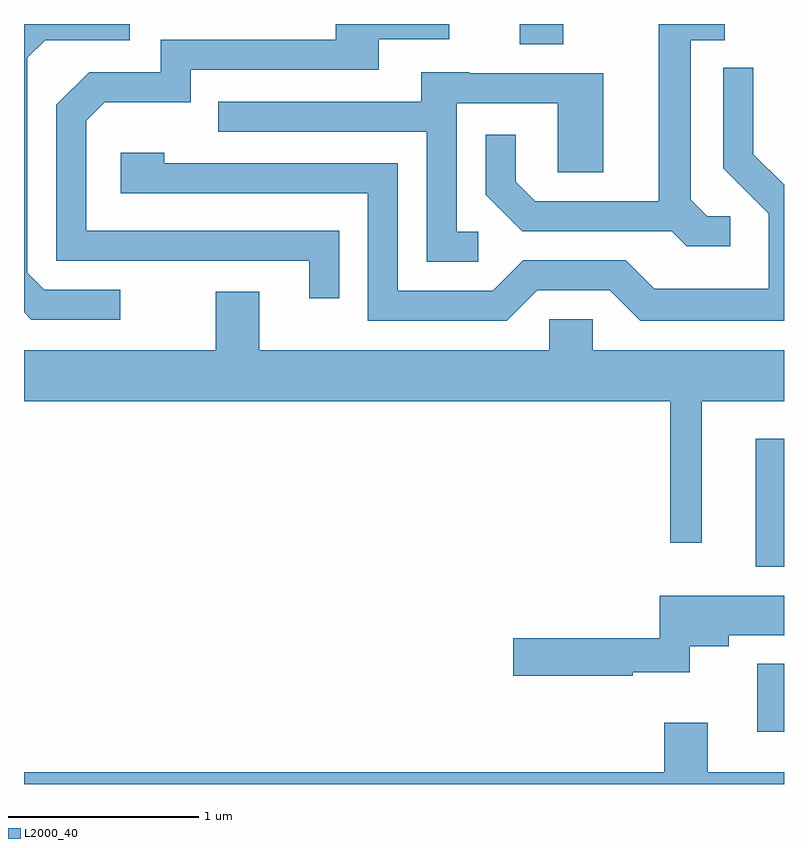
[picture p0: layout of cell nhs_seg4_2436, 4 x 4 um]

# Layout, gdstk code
import gdstk
lib = gdstk.Library(unit=1e-6, precision=1e-09)
def R(c, l, rs):  # rectangles x0, y0, x1, y1
    for r in rs: c.add(gdstk.rectangle(r[:2], r[2:], *l))
def P(c, l, *ps):  # polygons
    for p in ps: c.add(gdstk.Polygon(p, *l))
L2000_40 = (2000, 40)

nhs_seg4_2436 = lib.new_cell('nhs_seg4_2436')
R(nhs_seg4_2436, L2000_40, [(259.471,1366.256,259.611,1366.614), (259.461,1367.126,259.611,1367.799), (258.221,1369.876,258.449,1369.982)])
P(nhs_seg4_2436, L2000_40, [(257.269,1368.894),(255.939,1368.894),(255.939,1369.474),(256.037,1369.571),(256.489,1369.571),(256.489,1369.741),(257.479,1369.741),(257.479,1369.901),(257.848,1369.901),(257.848,1369.982),(257.251,1369.982),(257.251,1369.899),(256.331,1369.899),(256.331,1369.729),(255.954,1369.729),(255.781,1369.557),(255.781,1368.736),(257.111,1368.736),(257.111,1368.538),(257.269,1368.538)],
  [(256.118,1368.584),(255.717,1368.584),(255.629,1368.672),(255.629,1369.804),(255.722,1369.896),(256.168,1369.896),(256.168,1369.982),(255.611,1369.982),(255.611,1368.464),(255.649,1368.426),(256.118,1368.426)],
  [(259.328,1368.969),(259.207,1368.969),(259.119,1369.057),(259.119,1369.896),(259.298,1369.896),(259.298,1369.982),(258.951,1369.982),(258.951,1369.049),(258.302,1369.049),(258.199,1369.152),(258.199,1369.398),(258.041,1369.398),(258.041,1369.084),(258.234,1368.891),(259.019,1368.891),(259.099,1368.811),(259.328,1368.811)],
  [(258.312,1368.581),(258.694,1368.581),(258.854,1368.421),(259.611,1368.421),(259.611,1369.135),(259.449,1369.297),(259.449,1369.753),(259.291,1369.753),(259.291,1369.224),(259.531,1368.984),(259.531,1368.589),(258.927,1368.589),(258.777,1368.739),(258.239,1368.739),(258.079,1368.579),(257.579,1368.579),(257.579,1369.249),(256.349,1369.249),(256.349,1369.304),(256.121,1369.304),(256.121,1369.091),(257.421,1369.091),(257.421,1368.421),(258.152,1368.421)],
  [(258.003,1368.889),(257.889,1368.889),(257.889,1369.566),(258.421,1369.566),(258.421,1369.201),(258.659,1369.201),(258.659,1369.724),(257.955,1369.724),(257.955,1369.729),(257.701,1369.729),(257.701,1369.574),(256.633,1369.574),(256.633,1369.416),(257.731,1369.416),(257.731,1368.731),(258.003,1368.731)],
  [(259.179,1367.996),(259.611,1367.996),(259.611,1368.264),(258.604,1368.264),(258.604,1368.429),(258.376,1368.429),(258.376,1368.264),(256.849,1368.264),(256.849,1368.574),(256.621,1368.574),(256.621,1368.264),(255.611,1368.264),(255.611,1367.996),(259.011,1367.996),(259.011,1367.253),(259.179,1367.253)],
  [(258.814,1366.571),(259.114,1366.571),(259.114,1366.706),(259.319,1366.706),(259.319,1366.766),(259.611,1366.766),(259.611,1366.974),(258.956,1366.974),(258.956,1366.749),(258.186,1366.749),(258.186,1366.551),(258.814,1366.551)],
  [(259.611,1366.044),(259.209,1366.044),(259.209,1366.304),(258.981,1366.304),(258.981,1366.044),(255.611,1366.044),(255.611,1365.982),(259.611,1365.982)])

lib.write_gds('nhs_seg4_2436.gds')
